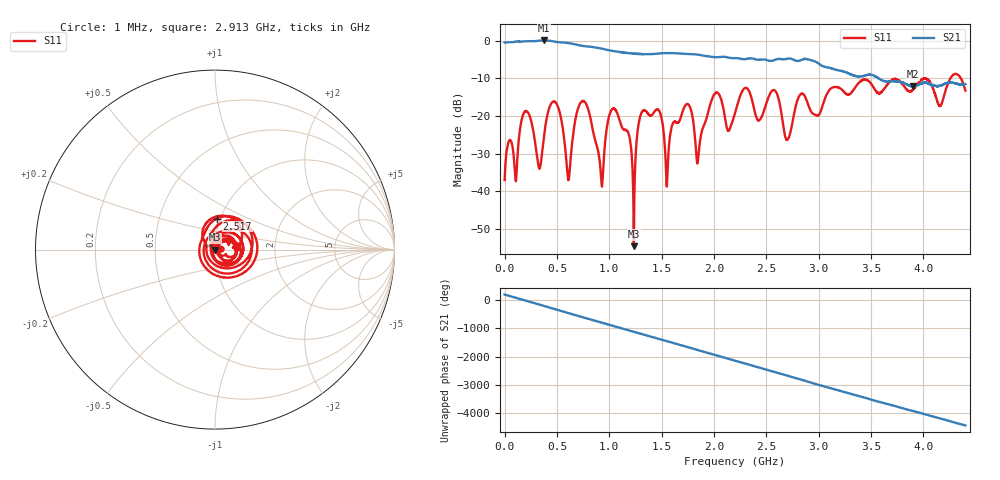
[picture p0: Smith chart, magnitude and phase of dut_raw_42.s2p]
!Created with skrf (http://scikit-rf.org).
# Hz S RI R 50.0
!freq ReS11 ImS11 ReS21 ImS21 ReS12 ImS12 ReS22 ImS22
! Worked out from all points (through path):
!   4400 points, 1 MHz to 4.4 GHz, reference 50 ohm
!   highest |S21| = 0.12 dB at 379 MHz (marker M1); lowest = -12.1 dB at 3.9 GHz (marker M2)
!   lowest |S11| = -54.7 dB at 1.234 GHz (marker M3), VSWR 1.00, Z = 50.2 - j0.0487 ohm
!   |S11| at or under -10 dB: start of sweep to 4.008 GHz; 4.008 GHz to 4.257 GHz (248.1 MHz wide, 6 % of centre); 4.357 GHz to end of sweep
!   S12 and S22 are empty: the file has one direction only
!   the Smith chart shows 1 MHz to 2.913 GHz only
!   S11 on the Smith chart (normalised r, x): 1 MHz: 1.03, +0.00; 2.517 GHz: 0.96, +0.34; 2.913 GHz: 1.28, +0.03
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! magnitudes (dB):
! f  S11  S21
! 1 MHz  -37.1  -0.4
! 196 MHz  -18.8  -0.1
! 379 MHz  -24.9  0.1
! 493 MHz  -16.6  -0.3
! 612 MHz  -36.9  -0.6
! 735 MHz  -16.2  -1.3
! 926 MHz  -37.8  -2.0
! 1.062 GHz  -18.5  -2.8
! 1.234 GHz  -54.7  -3.4
! 1.304 GHz  -19.4  -3.5
! 1.468 GHz  -18.3  -3.4
! 1.55 GHz  -38.8  -3.2
! 1.735 GHz  -16.9  -3.5
! 1.844 GHz  -32.4  -3.6
! 2.008 GHz  -14.0  -4.3
! 2.201 GHz  -19.2  -4.6
! 2.517 GHz  -15.2  -5.2
! 2.913 GHz  -18.1  -5.1
! 2.934 GHz  -19.1  -5.2
! 3.667 GHz  -11.2  -10.9
! 3.9 GHz  -12.9  -12.1
! 4.4 GHz  -13.2  -11.5
